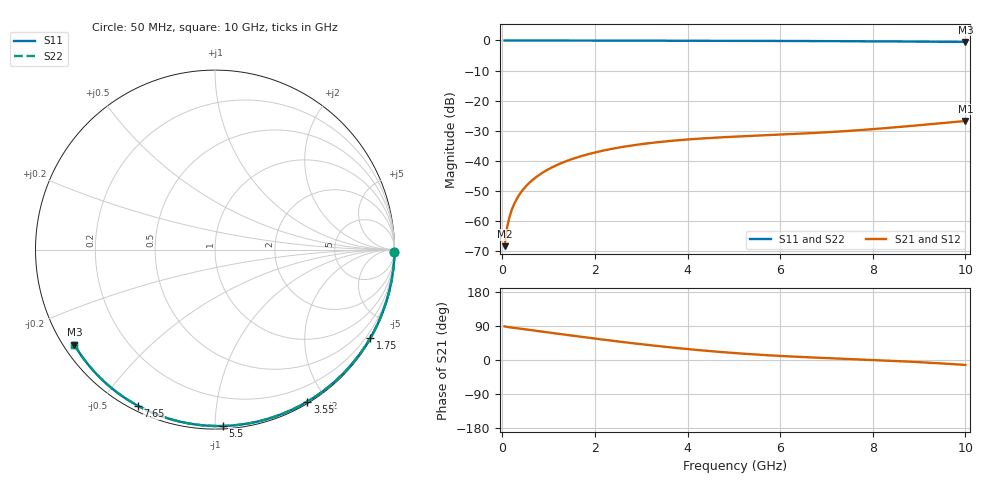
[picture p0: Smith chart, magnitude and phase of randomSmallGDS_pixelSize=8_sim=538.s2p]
! freq	dB(S11)	phase(S11)	dB(S12)	phase(S12)
!  dB(S21)	phase(S21)	dB(S22)	phase(S22)
!S-par simulation data
#  GHz  S  DB  R 50
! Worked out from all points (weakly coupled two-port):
!   200 points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, 50 MHz to 10 GHz, reference 50 ohm
!   highest |S21| = -26.75 dB at 10 GHz (marker M1); lowest = -68.3 dB at 50 MHz (marker M2)
!   lowest |S11| = -0.5 dB at 10 GHz (marker M3), VSWR 35.97, Z = 1.52 - j15.3 ohm
!   |S11| at or under -10 dB: nowhere
!   |S22| runs from -0.5 to 0.0 dB; largest |S21 - S12| = 0
!   S11 on the Smith chart (normalised r, x): 50 MHz: open; 1.75 GHz: 0.03, -3.77; 3.55 GHz: 0.02, -1.78; 5.5 GHz: 0.02, -1.05; 7.65 GHz: 0.02, -0.62; 10 GHz: 0.03, -0.31
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0.05  -0.00 -0.9  -68.35 88.6  -68.35 88.6  -0.00 -0.9
0.1  -0.00 -1.7  -62.38 87.4  -62.38 87.4  -0.00 -1.7
0.15  -0.00 -2.6  -58.92 86.5  -58.92 86.5  -0.00 -2.6
0.2  -0.00 -3.5  -56.46 85.6  -56.46 85.6  -0.00 -3.5
0.25  -0.00 -4.3  -54.56 84.8  -54.56 84.8  -0.00 -4.3
0.35  -0.00 -6.1  -51.68 83.3  -51.68 83.3  -0.00 -6.1
0.5  -0.01 -8.6  -48.63 80.9  -48.63 80.9  -0.01 -8.6
0.7  -0.01 -12.0  -45.76 77.6  -45.76 77.6  -0.01 -12.0
1  -0.02 -17.2  -42.76 72.7  -42.76 72.7  -0.02 -17.1
1.35  -0.03 -23.1  -40.29 66.9  -40.29 66.9  -0.03 -23.1
1.75  -0.04 -29.7  -38.24 60.5  -38.24 60.5  -0.04 -29.7
2.5  -0.05 -42.0  -35.64 48.9  -35.64 48.9  -0.05 -42.0
3.4  -0.08 -56.3  -33.73 36.3  -33.73 36.3  -0.08 -56.3
3.55  -0.08 -58.7  -33.50 34.3  -33.50 34.3  -0.08 -58.7
4.3  -0.10 -70.1  -32.58 25.4  -32.58 25.4  -0.10 -70.1
5.05  -0.13 -81.0  -31.93 18.0  -31.93 18.0  -0.13 -81.0
5.5  -0.14 -87.4  -31.62 14.3  -31.62 14.3  -0.14 -87.4
6.7  -0.20 -103.8  -30.77 6.7  -30.77 6.7  -0.20 -103.8
7.65  -0.26 -116.3  -29.87 2.0  -29.87 2.0  -0.26 -116.3
8.35  -0.32 -125.2  -29.03 -1.7  -29.03 -1.7  -0.32 -125.2
9.2  -0.40 -135.9  -27.89 -7.0  -27.89 -7.0  -0.40 -135.9
10  -0.48 -145.9  -26.75 -13.0  -26.75 -13.0  -0.48 -145.9
